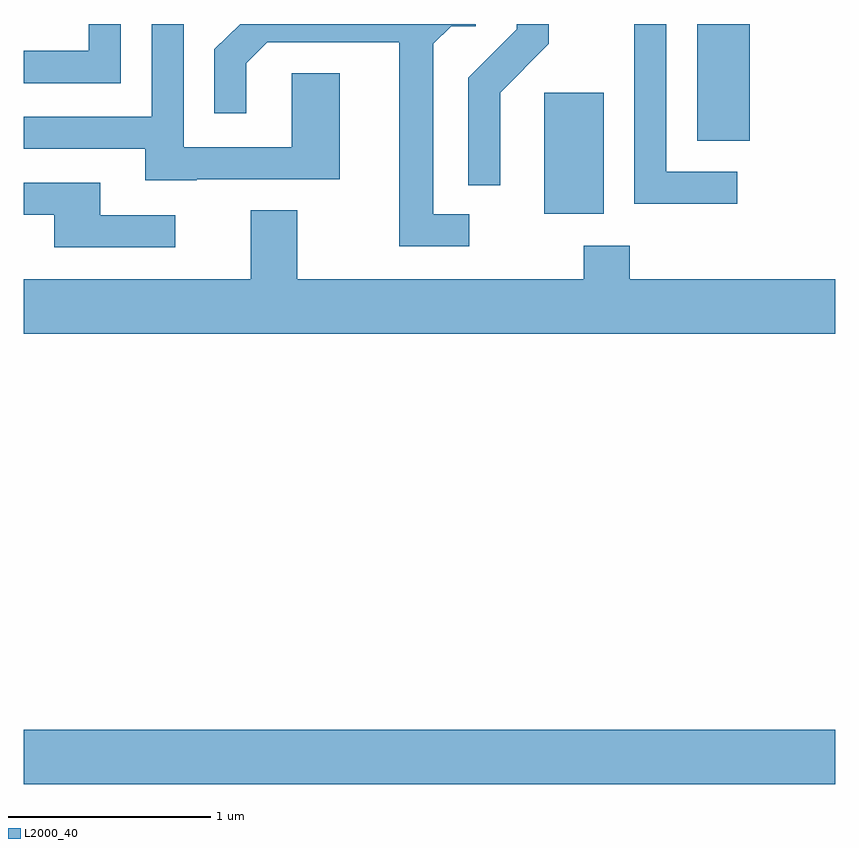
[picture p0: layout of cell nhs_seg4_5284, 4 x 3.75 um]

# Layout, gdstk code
import gdstk
lib = gdstk.Library(unit=1e-6, precision=1e-09)
def R(c, l, rs):  # rectangles x0, y0, x1, y1
    for r in rs: c.add(gdstk.rectangle(r[:2], r[2:], *l))
def P(c, l, *ps):  # polygons
    for p in ps: c.add(gdstk.Polygon(p, *l))
L2000_40 = (2000, 40)

nhs_seg4_5284 = lib.new_cell('nhs_seg4_5284')
R(nhs_seg4_5284, L2000_40, [(339.611,1350.236,343.611,1350.504), (342.176,1353.046,342.469,1353.644), (342.931,1353.406,343.189,1353.982)])
P(nhs_seg4_5284, L2000_40, [(340.089,1353.982),(339.931,1353.982),(339.931,1353.849),(339.611,1353.849),(339.611,1353.691),(340.089,1353.691)],
  [(341.959,1353.644),(342.199,1353.884),(342.199,1353.982),(342.041,1353.982),(342.041,1353.957),(341.801,1353.717),(341.801,1353.188),(341.959,1353.188)],
  [(343.128,1353.254),(342.779,1353.254),(342.779,1353.982),(342.621,1353.982),(342.621,1353.096),(343.128,1353.096)],
  [(340.465,1353.216),(341.169,1353.216),(341.169,1353.739),(340.931,1353.739),(340.931,1353.374),(340.399,1353.374),(340.399,1353.982),(340.241,1353.982),(340.241,1353.524),(339.611,1353.524),(339.611,1353.366),(340.211,1353.366),(340.211,1353.211),(340.465,1353.211)],
  [(341.808,1353.044),(341.629,1353.044),(341.629,1353.884),(341.717,1353.971),(341.838,1353.971),(341.838,1353.982),(340.677,1353.982),(340.551,1353.857),(340.551,1353.543),(340.709,1353.543),(340.709,1353.789),(340.812,1353.891),(341.461,1353.891),(341.461,1352.886),(341.808,1352.886)],
  [(340.358,1353.039),(339.989,1353.039),(339.989,1353.199),(339.611,1353.199),(339.611,1353.041),(339.761,1353.041),(339.761,1352.881),(340.358,1352.881)],
  [(343.611,1352.724),(342.599,1352.724),(342.599,1352.889),(342.371,1352.889),(342.371,1352.724),(340.959,1352.724),(340.959,1353.064),(340.731,1353.064),(340.731,1352.724),(339.611,1352.724),(339.611,1352.456),(343.611,1352.456)])

lib.write_gds('nhs_seg4_5284.gds')
